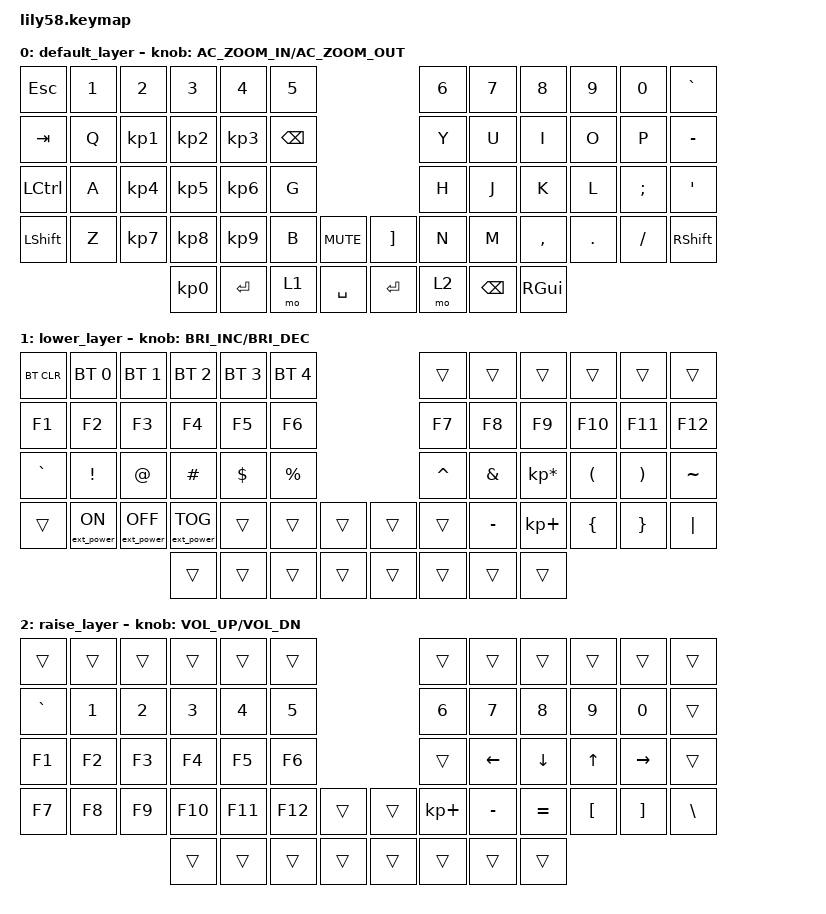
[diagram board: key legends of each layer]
/*
 * Copyright (c) 2020 The ZMK Contributors
 *
 * SPDX-License-Identifier: MIT
 */

#include <behaviors.dtsi>
#include <dt-bindings/zmk/keys.h>
#include <dt-bindings/zmk/bt.h>
#include <dt-bindings/zmk/ext_power.h>

&left_encoder { resolution = <2>; };

/ {
	keymap {
		compatible = "zmk,keymap";

		default_layer {
// ------------------------------------------------------------------------------------------------------------
// |  ESC  |  1  |  2  |  3   |  4   |  5   |                   |  6   |  7    |  8    |  9   |   0   |   `   |
// |  TAB  |  Q  |  1  |  2   |  3   | BSPC |                   |  Y   |  U    |  I    |  O   |   P   |   -   |
// |  CTRL |  A  |  4  |  5   |  6   |  G   |                   |  H   |  J    |  K    |  L   |   ;   |   '   |
// | SHIFT |  Z  |  7  |  8   |  9   |  B   |   "["  |  |  "]"  |  N   |  M    |  ,    |  .   |   /   | SHIFT |
//                     |  0  | ENTER  | LOWER|  SPACE |  | ENTER | RAISE| BSPC  | GUI   |
			bindings = <
&kp ESC   &kp N1 &kp N2 &kp N3   &kp N4   &kp N5                     &kp N6 &kp N7   &kp N8    &kp N9  &kp N0   &kp GRAVE
&kp TAB   &kp Q  &kp KP_N1  &kp KP_N2    &kp KP_N3    &kp BSPC                      &kp Y  &kp U    &kp I     &kp O   &kp P    &kp MINUS
&kp LCTRL &kp A  &kp KP_N4  &kp KP_N5    &kp KP_N6    &kp G                      &kp H  &kp J    &kp K     &kp L   &kp SEMI &kp SQT
&kp LSHFT &kp Z  &kp KP_N7  &kp KP_N8    &kp KP_N9     &kp B  &kp C_MUTE   &kp RBKT &kp N  &kp M    &kp COMMA &kp DOT &kp FSLH &kp RSHFT
                        &kp KP_N0 &kp RET &mo 1  &kp SPACE  &kp RET  &mo 2  &kp BSPC &kp RGUI
			>;

			sensor-bindings = <&inc_dec_kp C_AC_ZOOM_IN C_AC_ZOOM_OUT>;
		};

		lower_layer {
// ------------------------------------------------------------------------------------------------------------
// | BTCLR | BT1 | BT2 |  BT3 |  BT4 |  BT5 |                   |      |       |       |      |       |       |
// |  F1   |  F2 |  F3 |  F4  |  F5  |  F6  |                   |  F7  |  F8   |  F9   |  F10 |  F11  |  F12  |
// |   `   |  !  |  @  |  #   |  $   |  %   |                   |  ^   |  &    |  *    |  (   |   )   |   ~   |
// |       |     |     |      |      |      |        |  |       |      |  _    |  +    |  {   |   }   |  "|"  |
//                     |      |      |      |        |  |       |      |       |       |
			bindings = <
&bt BT_CLR &bt BT_SEL 0     &bt BT_SEL 1      &bt BT_SEL 2      &bt BT_SEL 3 &bt BT_SEL 4                 &trans    &trans    &trans          &trans    &trans    &trans
&kp F1     &kp F2           &kp F3            &kp F4            &kp F5       &kp F6                       &kp F7    &kp F8    &kp F9          &kp F10   &kp F11   &kp F12
&kp GRAVE  &kp EXCL         &kp AT            &kp HASH          &kp DOLLAR   &kp PRCNT                    &kp CARET &kp AMPS  &kp KP_MULTIPLY &kp LPAR  &kp RPAR  &kp TILDE
&trans     &ext_power EP_ON &ext_power EP_OFF &ext_power EP_TOG &trans       &trans    &trans   &trans    &trans    &kp MINUS &kp KP_PLUS     &kp LBRC  &kp RBRC  &kp PIPE
                                              &trans            &trans       &trans    &trans   &trans    &trans    &trans    &trans
			>;

			sensor-bindings = <&inc_dec_kp C_BRIGHTNESS_INC C_BRIGHTNESS_DEC>;
		};

		raise_layer {
// ------------------------------------------------------------------------------------------------------------
// |       |     |     |      |      |      |                   |      |       |       |      |       |       |
// |   `   |  1  |  2  |  3   |  4   |  5   |                   |  6   |   7   |   8   |  9   |   0   |       |
// |   F1  |  F2 |  F3 |  F4  |  F5  |  F6  |                   |      |   <-  |   ^   |  v   |  ->   |       |
// |   F7  |  F8 |  F9 |  F10 |  F11 |  F12 |        |  |       |  +   |   -   |   =   |  [   |   ]   |   \   |
//                     |      |      |      |        |  |       |      |       |       |
			bindings = <
&trans    &trans &trans &trans  &trans  &trans                       &trans      &trans    &trans    &trans   &trans    &trans
&kp GRAVE &kp N1 &kp N2 &kp N3  &kp N4  &kp N5                       &kp N6      &kp N7    &kp N8    &kp N9   &kp N0    &trans
&kp F1    &kp F2 &kp F3 &kp F4  &kp F5  &kp F6                       &trans      &kp LEFT  &kp DOWN  &kp UP   &kp RIGHT &trans
&kp F7    &kp F8 &kp F9 &kp F10 &kp F11 &kp F12   &trans   &trans    &kp KP_PLUS &kp MINUS &kp EQUAL &kp LBKT &kp RBKT  &kp BSLH
                        &trans  &trans  &trans    &trans   &trans    &trans      &trans    &trans
			>;

			sensor-bindings = <&inc_dec_kp C_VOL_UP C_VOL_DN>;
		};
	};
};
